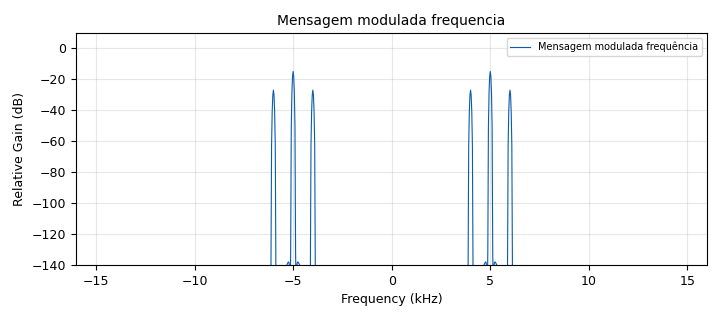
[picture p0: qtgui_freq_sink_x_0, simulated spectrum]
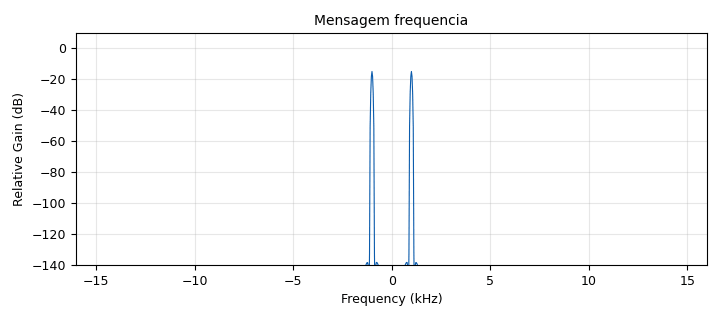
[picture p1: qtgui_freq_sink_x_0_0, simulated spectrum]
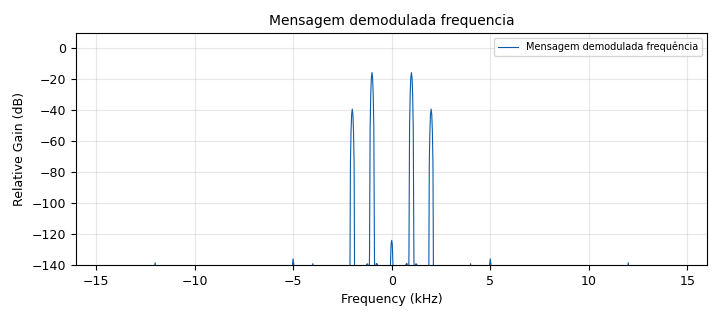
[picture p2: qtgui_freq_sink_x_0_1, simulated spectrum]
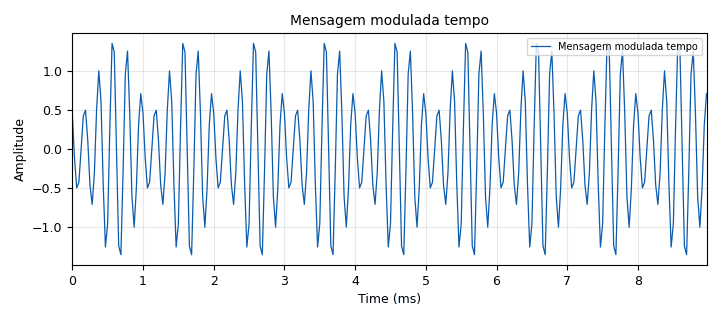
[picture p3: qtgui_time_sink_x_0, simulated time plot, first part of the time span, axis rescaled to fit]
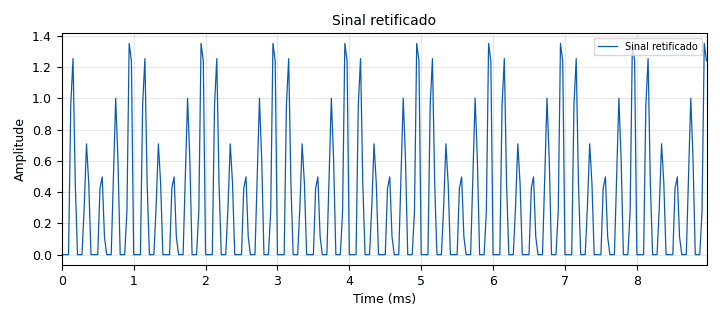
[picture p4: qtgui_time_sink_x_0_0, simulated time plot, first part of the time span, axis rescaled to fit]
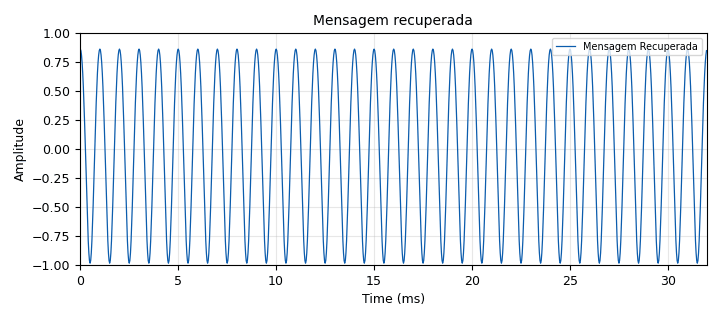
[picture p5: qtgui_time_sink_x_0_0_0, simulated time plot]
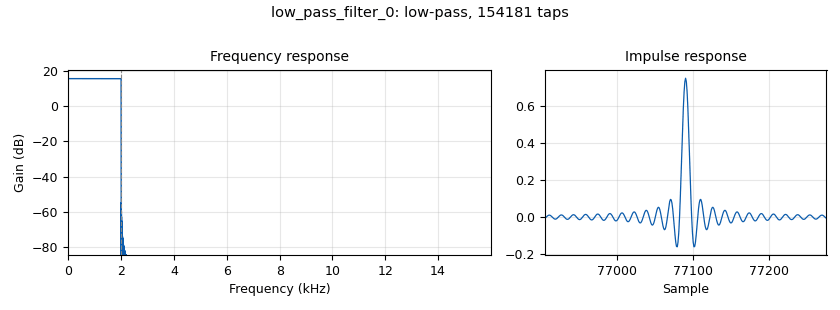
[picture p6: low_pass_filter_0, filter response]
options:
  parameters:
    author: luiz
    generate_options: qt_gui
    id: lab_1
    output_language: python
    title: Not titled yet
  states: {}

blocks:
- name: fase
  id: variable_qtgui_range
  parameters:
    start: '0'
    step: '0.001'
    stop: '6.28'
    value: '1.570796327'
  states: {}
- name: fc
  id: variable_qtgui_range
  parameters:
    start: '0'
    step: '1'
    stop: '20000'
    value: '5000'
  states: {}
- name: fm
  id: variable
  parameters:
    value: '1000'
  states: {}
- name: samp_rate
  id: variable
  parameters:
    value: '32000'
  states: {}
- name: analog_const_source_x_0
  id: analog_const_source_x
  parameters:
    const: '1'
    type: float
  states: {}
- name: analog_sig_source_x_0
  id: analog_sig_source_x
  parameters:
    amp: '1'
    freq: fc
    offset: '0'
    phase: fase
    samp_rate: samp_rate
    type: float
    waveform: analog.GR_COS_WAVE
  states: {}
- name: analog_sig_source_x_0_0
  id: analog_sig_source_x
  parameters:
    amp: '1'
    freq: fm
    offset: '0'
    phase: '0'
    samp_rate: samp_rate
    type: float
    waveform: analog.GR_COS_WAVE
  states: {}
- name: blocks_add_xx_0
  id: blocks_add_xx
  parameters:
    type: float
  states: {}
- name: blocks_multiply_const_vxx_0
  id: blocks_multiply_const_vxx
  parameters:
    const: '0.5'
    type: float
  states: {}
- name: blocks_multiply_xx_0
  id: blocks_multiply_xx
  parameters:
    type: float
  states: {}
- name: blocks_throttle_0
  id: blocks_throttle
  parameters:
    samples_per_second: samp_rate
    type: float
  states: {}
- name: blocks_throttle_0_0
  id: blocks_throttle
  parameters:
    samples_per_second: samp_rate
    type: float
  states: {}
- name: blocks_throttle_0_0_0
  id: blocks_throttle
  parameters:
    samples_per_second: samp_rate
    type: float
  states: {}
- name: blocks_throttle_0_0_0_0
  id: blocks_throttle
  parameters:
    samples_per_second: samp_rate
    type: float
  states: {}
- name: dc_blocker_xx_0
  id: dc_blocker_xx
  parameters:
    length: '32'
    long_form: 'True'
    type: ff
  states: {}
- name: epy_block_0
  id: epy_block
  parameters:
    _source_code: "import numpy as np\nfrom gnuradio import gr\n\nclass blk(gr.sync_block):\n    \"\"\"Retificador de meia onda (sinal real)\"\"\"\n\n    def __init__(self):\n        gr.sync_block.__init__(\n            self,\n            name='Retificador Meia Onda',\n            in_sig=[np.float32],\n            out_sig=[np.float32]\n        )\n\n    def work(self, input_items, output_items):\n        # zera os valores negativos\n        output_items[0][:] = np.maximum(input_items[0], 0)\n        return len(output_items[0])\n\n"
  states: {}
- name: low_pass_filter_0
  id: low_pass_filter
  parameters:
    cutoff_freq: fm +1000
    decim: '1'
    gain: '6'
    samp_rate: samp_rate
    type: fir_filter_fff
    width: '0.5'
    win: window.WIN_HAMMING
  states: {}
- name: qtgui_freq_sink_x_0
  id: qtgui_freq_sink_x
  parameters:
    bw: samp_rate
    fc: '0'
    fftsize: '1024'
    grid: 'True'
    label1: Mensagem modulada frequência
    name: '"Mensagem modulada frequencia"'
    type: float
  states: {}
- name: qtgui_freq_sink_x_0_0
  id: qtgui_freq_sink_x
  parameters:
    bw: samp_rate
    fc: '0'
    fftsize: '1024'
    name: '"Mensagem frequencia"'
    type: float
  states: {}
- name: qtgui_freq_sink_x_0_1
  id: qtgui_freq_sink_x
  parameters:
    bw: samp_rate
    fc: '0'
    fftsize: '1024'
    label1: Mensagem demodulada frequência
    name: '"Mensagem demodulada frequencia"'
    type: float
  states: {}
- name: qtgui_time_sink_x_0
  id: qtgui_time_sink_x
  parameters:
    label1: Mensagem modulada tempo
    name: '"Mensagem modulada tempo"'
    size: '500'
    srate: samp_rate
    type: float
  states: {}
- name: qtgui_time_sink_x_0_0
  id: qtgui_time_sink_x
  parameters:
    grid: 'True'
    label1: Sinal retificado
    name: '"Sinal retificado"'
    size: '1024'
    srate: samp_rate
    type: float
  states: {}
- name: qtgui_time_sink_x_0_0_0
  id: qtgui_time_sink_x
  parameters:
    grid: 'True'
    label1: Mensagem Recuperada
    name: '"Mensagem recuperada"'
    size: '1024'
    srate: samp_rate
    type: float
  states: {}
- name: qtgui_time_sink_x_0_1
  id: qtgui_time_sink_x
  parameters:
    grid: 'True'
    label1: Mensagem tempo
    name: '"Mensagem"'
    size: '1024'
    srate: samp_rate
    type: float
  states: {}
- name: virtual_sink_0
  id: virtual_sink
  parameters:
    stream_id: Portadora
  states: {}
- name: virtual_sink_0_0
  id: virtual_sink
  parameters:
    stream_id: Mensagem
  states: {}
- name: virtual_sink_1
  id: virtual_sink
  parameters:
    stream_id: sinal_am_fc
  states: {}
- name: virtual_source_0
  id: virtual_source
  parameters:
    stream_id: Portadora
  states: {}
- name: virtual_source_0_0
  id: virtual_source
  parameters:
    stream_id: Mensagem
  states: {}
- name: virtual_source_1_0
  id: virtual_source
  parameters:
    stream_id: sinal_am_fc
  states: {}

connections:
- [analog_const_source_x_0, '0', blocks_add_xx_0, '0']
- [analog_sig_source_x_0, '0', virtual_sink_0, '0']
- [analog_sig_source_x_0_0, '0', blocks_throttle_0_0_0_0, '0']
- [analog_sig_source_x_0_0, '0', virtual_sink_0_0, '0']
- [blocks_add_xx_0, '0', blocks_multiply_xx_0, '0']
- [blocks_multiply_const_vxx_0, '0', blocks_add_xx_0, '1']
- [blocks_multiply_xx_0, '0', blocks_throttle_0_0_0, '0']
- [blocks_throttle_0, '0', qtgui_freq_sink_x_0_1, '0']
- [blocks_throttle_0, '0', qtgui_time_sink_x_0_0_0, '0']
- [blocks_throttle_0_0, '0', qtgui_time_sink_x_0_0, '0']
- [blocks_throttle_0_0_0, '0', qtgui_freq_sink_x_0, '0']
- [blocks_throttle_0_0_0, '0', qtgui_time_sink_x_0, '0']
- [blocks_throttle_0_0_0, '0', virtual_sink_1, '0']
- [blocks_throttle_0_0_0_0, '0', qtgui_freq_sink_x_0_0, '0']
- [blocks_throttle_0_0_0_0, '0', qtgui_time_sink_x_0_1, '0']
- [dc_blocker_xx_0, '0', blocks_throttle_0, '0']
- [epy_block_0, '0', blocks_throttle_0_0, '0']
- [epy_block_0, '0', low_pass_filter_0, '0']
- [low_pass_filter_0, '0', dc_blocker_xx_0, '0']
- [virtual_source_0, '0', blocks_multiply_xx_0, '1']
- [virtual_source_0_0, '0', blocks_multiply_const_vxx_0, '0']
- [virtual_source_1_0, '0', epy_block_0, '0']

metadata:
  file_format: 1
